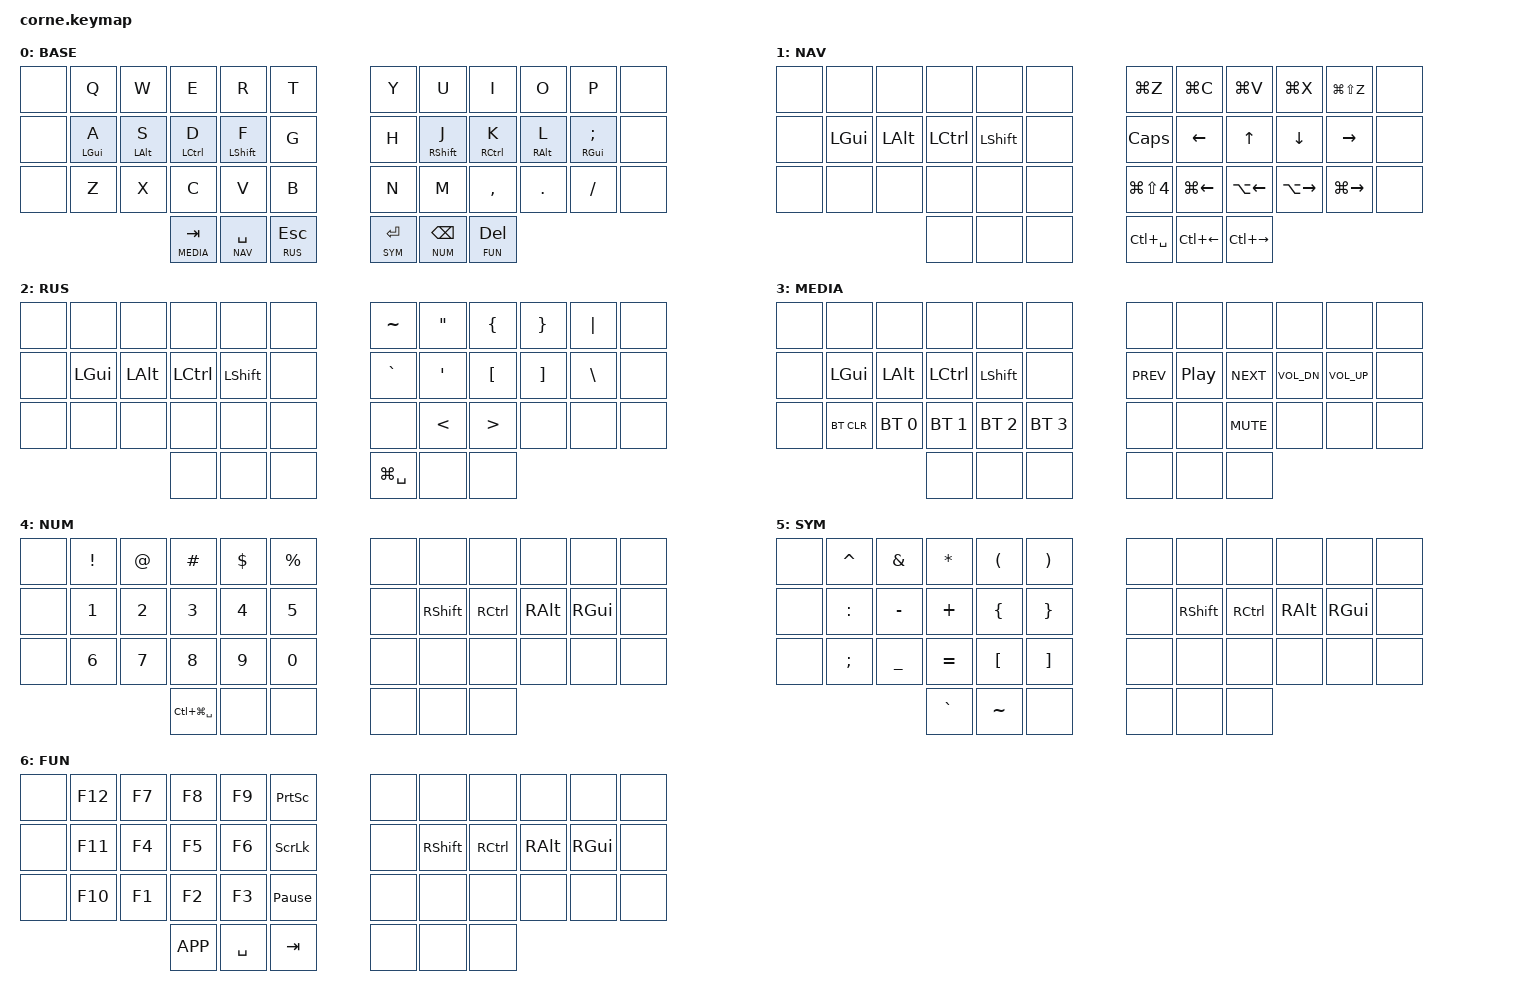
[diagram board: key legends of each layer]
#include <behaviors.dtsi>
#include <dt-bindings/zmk/keys.h>
#include <dt-bindings/zmk/bt.h>
#include <dt-bindings/zmk/outputs.h>

// Layer definitions
#define BASE    0
#define NAV     1
#define RUS     2
#define MEDIA   3
#define NUM     4
#define SYM     5
#define FUN     6

// Behavior configuration
&mt {
    tapping-term-ms = <200>;
    flavor = "tap-preferred";
};

&lt {
    tapping-term-ms = <200>;
    flavor = "tap-preferred";
};

/ {
    behaviors {
        // Home row mods (mod-tap)
        hml: homerow_mods_left {
            compatible = "zmk,behavior-hold-tap";
            #binding-cells = <2>;
            tapping-term-ms = <200>;
            quick-tap-ms = <175>;
            require-prior-idle-ms = <150>;
            flavor = "balanced";
            bindings = <&kp>, <&kp>;
            hold-trigger-key-positions = <5 6 7 8 9 15 16 17 18 19 25 26 27 28 29 32 33 34>;  // Right hand + thumbs
            hold-trigger-on-release;
        };

        hmr: homerow_mods_right {
            compatible = "zmk,behavior-hold-tap";
            #binding-cells = <2>;
            tapping-term-ms = <200>;
            quick-tap-ms = <175>;
            require-prior-idle-ms = <150>;
            flavor = "balanced";
            bindings = <&kp>, <&kp>;
            hold-trigger-key-positions = <0 1 2 3 4 10 11 12 13 14 20 21 22 23 24 30 31 32>;  // Left hand + thumbs
            hold-trigger-on-release;
        };
    };

    keymap {
        compatible = "zmk,keymap";

        base_layer {
            display-name = "BASE";
            bindings = <
                &none       &kp Q           &kp W           &kp E           &kp R           &kp T       &kp Y       &kp U           &kp I           &kp O           &kp P           &none
                &none       &hml LGUI A     &hml LALT S     &hml LCTRL D    &hml LSHFT F    &kp G       &kp H       &hmr RSHFT J    &hmr RCTRL K    &hmr RALT L     &hmr RGUI SEMI  &none
                &none       &kp Z           &kp X           &kp C           &kp V           &kp B       &kp N       &kp M           &kp COMMA       &kp DOT         &kp SLASH       &none
                                                        &lt MEDIA TAB   &lt NAV SPACE   &lt RUS ESC     &lt SYM RET     &lt NUM BSPC    &lt FUN DEL
            >;
        };

        nav_layer {
            display-name = "NAV";
            bindings = <
                &none       &none       &none       &none       &none       &none       &kp LG(Z)       &kp LG(C)       &kp LG(V)       &kp LG(X)       &kp LG(LS(Z))   &none
                &none       &kp LGUI    &kp LALT    &kp LCTRL   &kp LSHFT   &none       &kp CAPS        &kp LEFT        &kp UP          &kp DOWN        &kp RIGHT       &none
                &none       &none       &none       &none       &none       &none       &kp LG(LS(N4))  &kp LG(LEFT)    &kp LA(LEFT)    &kp LA(RIGHT)   &kp LG(RIGHT)   &none
                                                    &none       &none       &none       &kp LC(SPACE)   &kp LC(LEFT)   &kp LC(RIGHT)
            >;
        };

        rus_layer {
            display-name = "RUS";
            bindings = <
                &none       &none       &none       &none       &none       &none       &kp TILDE   &kp DQT     &kp LBRC    &kp RBRC    &kp PIPE    &none
                &none       &kp LGUI    &kp LALT    &kp LCTRL   &kp LSHFT   &none       &kp GRAVE   &kp SQT     &kp LBKT    &kp RBKT    &kp BSLH    &none
                &none       &none       &none       &none       &none       &none       &none       &kp LT      &kp GT      &none       &none       &none
                                                    &none       &none       &none       &kp LG(SPACE)      &none       &none
            >;
        };

        media_layer {
            display-name = "MEDIA";
            bindings = <
                &none       &none       &none           &none           &none           &none           &none       &none       &none       &none           &none           &none
                &none       &kp LGUI    &kp LALT        &kp LCTRL       &kp LSHFT       &none           &kp C_PREV  &kp C_PP    &kp C_NEXT  &kp C_VOL_DN    &kp C_VOL_UP    &none
                &none       &bt BT_CLR  &bt BT_SEL 0    &bt BT_SEL 1    &bt BT_SEL 2    &bt BT_SEL 3    &none       &none       &kp C_MUTE  &none           &none           &none
                                                    &none       &none       &none       &none       &none       &none
            >;
        };

        num_layer {
            display-name = "NUM";
            bindings = <
                &none       &kp EXCL    &kp AT      &kp HASH    &kp DLLR    &kp PRCNT   &none       &none       &none       &none       &none       &none
                &none       &kp N1      &kp N2      &kp N3      &kp N4      &kp N5      &none       &kp RSHFT   &kp RCTRL   &kp RALT    &kp RGUI    &none
                &none       &kp N6      &kp N7      &kp N8      &kp N9      &kp N0      &none       &none       &none       &none       &none       &none
                                                    &kp LC(LG(SPACE))       &none       &none       &none       &none       &none
            >;
        };

        sym_layer {
            display-name = "SYM";
            bindings = <
                &none       &kp CARET   &kp AMPS    &kp STAR    &kp LPAR    &kp RPAR    &none       &none       &none       &none       &none       &none
                &none       &kp COLON   &kp MINUS   &kp PLUS    &kp LBRC    &kp RBRC    &none       &kp RSHFT   &kp RCTRL   &kp RALT    &kp RGUI    &none
                &none       &kp SEMI    &kp UNDER   &kp EQUAL   &kp LBKT    &kp RBKT    &none       &none       &none       &none       &none       &none
                                                    &kp GRAVE   &kp TILDE   &none       &none       &none       &none
            >;
        };

        fun_layer {
            display-name = "FUN";
            bindings = <
                &none       &kp F12     &kp F7      &kp F8      &kp F9      &kp PSCRN       &none       &none       &none       &none       &none       &none
                &none       &kp F11     &kp F4      &kp F5      &kp F6      &kp SLCK        &none       &kp RSHFT   &kp RCTRL   &kp RALT    &kp RGUI    &none
                &none       &kp F10     &kp F1      &kp F2      &kp F3      &kp PAUSE_BREAK &none       &none       &none       &none       &none       &none
                                                    &kp K_APP   &kp SPACE   &kp TAB         &none       &none       &none
            >;
        };
    };
};
